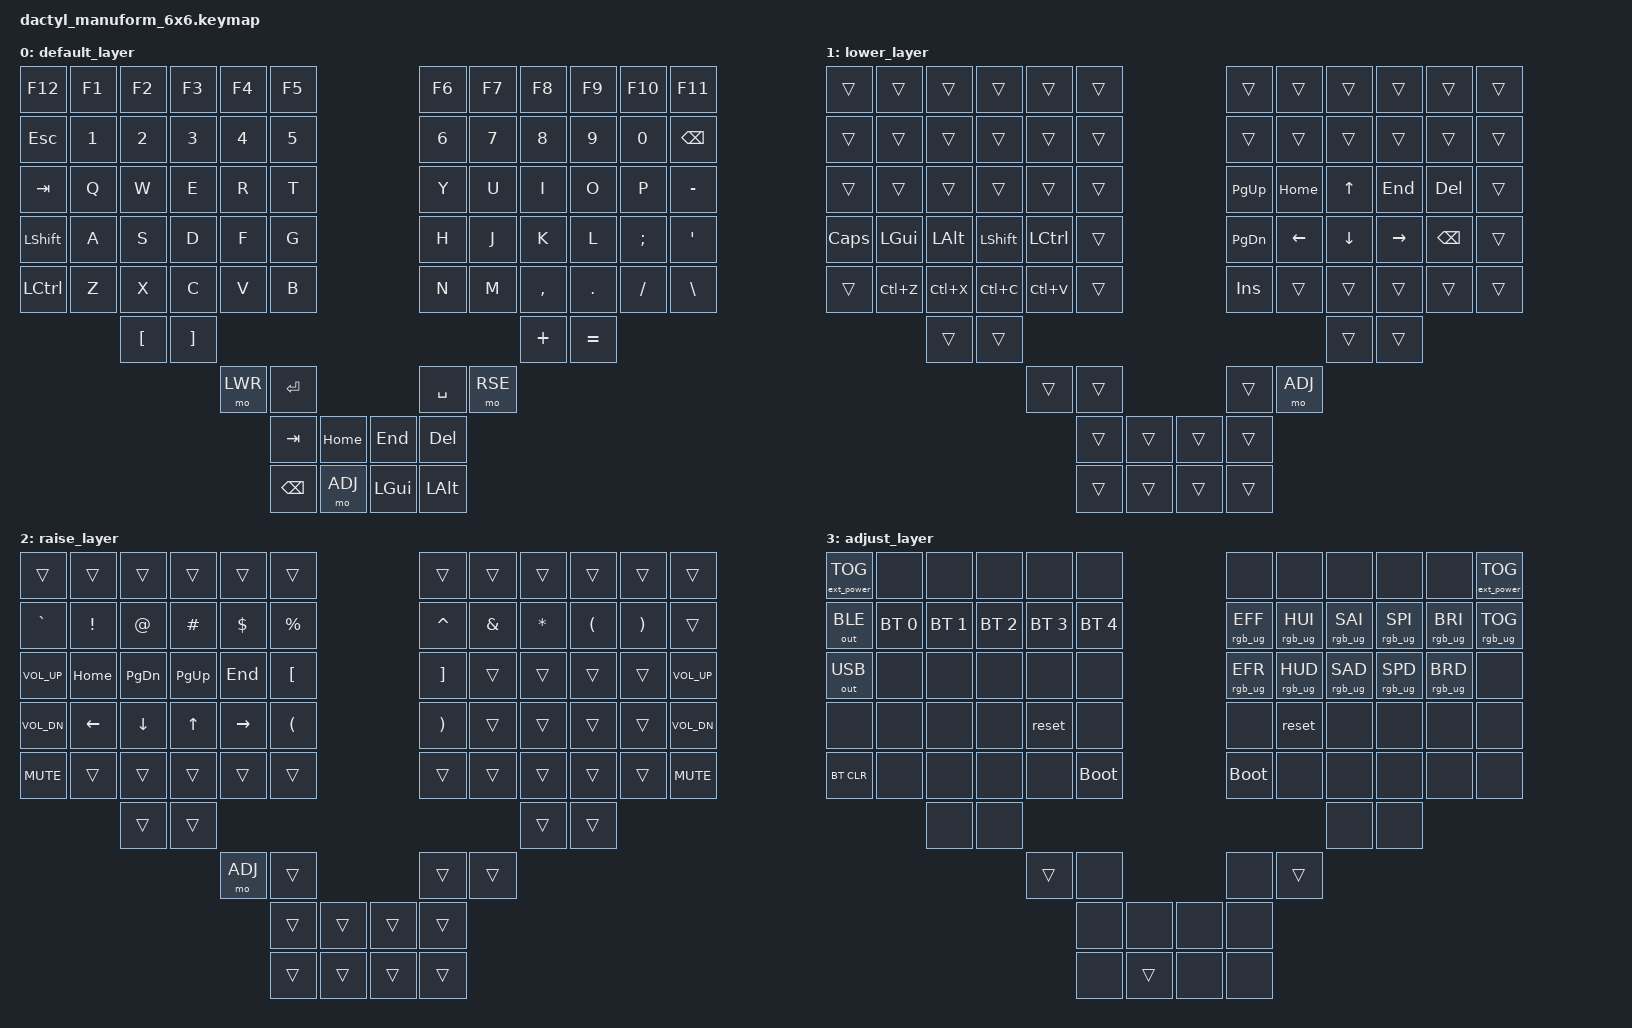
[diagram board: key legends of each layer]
#include <behaviors.dtsi>
#include <dt-bindings/zmk/keys.h>
#include <dt-bindings/zmk/bt.h>
#include <dt-bindings/zmk/rgb.h>
#include <dt-bindings/zmk/ext_power.h>
#include <dt-bindings/zmk/outputs.h>

#define DEFAULT 0
#define LWR 1
#define RSE 2
#define ADJ 3

/ {
    keymap {
        compatible = "zmk,keymap";

        default_layer {
            bindings = <
                &kp F12   &kp F1 &kp F2   &kp F3 &kp F4 &kp F5                              &kp F6 &kp F7 &kp F8    &kp F9  &kp F10  &kp F11
                &kp ESC   &kp N1 &kp N2   &kp N3 &kp N4 &kp N5                              &kp N6 &kp N7 &kp N8    &kp N9  &kp N0   &kp BSPC
                &kp TAB   &kp Q  &kp W    &kp E  &kp R  &kp T                               &kp Y  &kp U  &kp I     &kp O   &kp P    &kp MINUS
                &kp LSHFT &kp A  &kp S    &kp D  &kp F  &kp G                               &kp H  &kp J  &kp K     &kp L   &kp SEMI &kp SQT
                &kp LCTRL &kp Z  &kp X    &kp C  &kp V  &kp B                               &kp N  &kp M  &kp COMMA &kp DOT &kp FSLH &kp BSLH
                                 &kp LBKT &kp RBKT                                                        &kp PLUS  &kp EQUAL
                                                  &mo LWR  &kp RET                      &kp SPACE  &mo RSE
                                                           &kp TAB  &kp HOME     &kp END  &kp DEL
                                                           &kp BSPC &mo ADJ      &kp LGUI &kp LALT
            >;
        };

        lower_layer {
            bindings = <
                &trans   &trans    &trans    &trans    &trans    &trans                &trans    &trans   &trans   &trans    &trans    &trans
                &trans   &trans    &trans    &trans    &trans    &trans                &trans    &trans   &trans   &trans    &trans    &trans
                &trans   &trans    &trans    &trans    &trans    &trans                &kp PG_UP &kp HOME &kp UP   &kp END   &kp DEL   &trans
                &kp CAPS &kp LGUI  &kp LALT  &kp LSHFT &kp LCTRL &trans                &kp PG_DN &kp LEFT &kp DOWN &kp RIGHT &kp BSPC  &trans
                &trans   &kp LC(Z) &kp LC(X) &kp LC(C) &kp LC(V) &trans                &kp INS   &trans   &trans   &trans    &trans    &trans
                                   &trans    &trans                                                       &trans   &trans
                                                       &trans &trans                   &trans &mo ADJ
                                                              &trans &trans     &trans &trans
                                                              &trans &trans     &trans &trans
            >;
        };

        raise_layer {
            bindings = <
                &trans       &trans   &trans    &trans    &trans    &trans                 &trans    &trans   &trans    &trans   &trans   &trans
                &kp GRAVE    &kp EXCL &kp AT    &kp HASH  &kp DLLR  &kp PRCNT              &kp CARET &kp AMPS &kp ASTRK &kp LPAR &kp RPAR &trans
                &kp K_VOL_UP &kp HOME &kp PG_DN &kp PG_UP &kp END   &kp LBKT               &kp RBKT  &trans   &trans    &trans   &trans   &kp K_VOL_UP
                &kp K_VOL_DN &kp LEFT &kp DOWN  &kp UP    &kp RIGHT &kp LPAR               &kp RPAR  &trans   &trans    &trans   &trans   &kp K_VOL_DN
                &kp K_MUTE   &trans   &trans    &trans    &trans    &trans                 &trans    &trans   &trans    &trans   &trans   &kp K_MUTE
                                      &trans    &trans                                                        &trans    &trans
                                                         &mo ADJ &trans                    &trans &trans
                                                                 &trans  &trans     &trans &trans
                                                                 &trans  &trans     &trans &trans
            >;
        };

        adjust_layer {
            bindings = <
                &ext_power EP_TOG &none        &none        &none        &none        &none                     &none           &none           &none           &none           &none           &ext_power EP_TOG
                &out OUT_BLE      &bt BT_SEL 0 &bt BT_SEL 1 &bt BT_SEL 2 &bt BT_SEL 3 &bt BT_SEL 4              &rgb_ug RGB_EFF &rgb_ug RGB_HUI &rgb_ug RGB_SAI &rgb_ug RGB_SPI &rgb_ug RGB_BRI &rgb_ug RGB_TOG
                &out OUT_USB      &none        &none        &none        &none        &none                     &rgb_ug RGB_EFR &rgb_ug RGB_HUD &rgb_ug RGB_SAD &rgb_ug RGB_SPD &rgb_ug RGB_BRD &none
                &none             &none        &none        &none        &reset       &none                     &none           &reset          &none           &none           &none           &none
                &bt BT_CLR        &none        &none        &none        &none        &bootloader               &bootloader     &none           &none           &none           &none           &none
                                          &none        &none                                                                               &none           &none
                                                            &trans &none                                    &none &trans
                                                                  &none &none                        &none &none
                                                                  &none &trans                       &none &none
            >;
        };
    };
};
